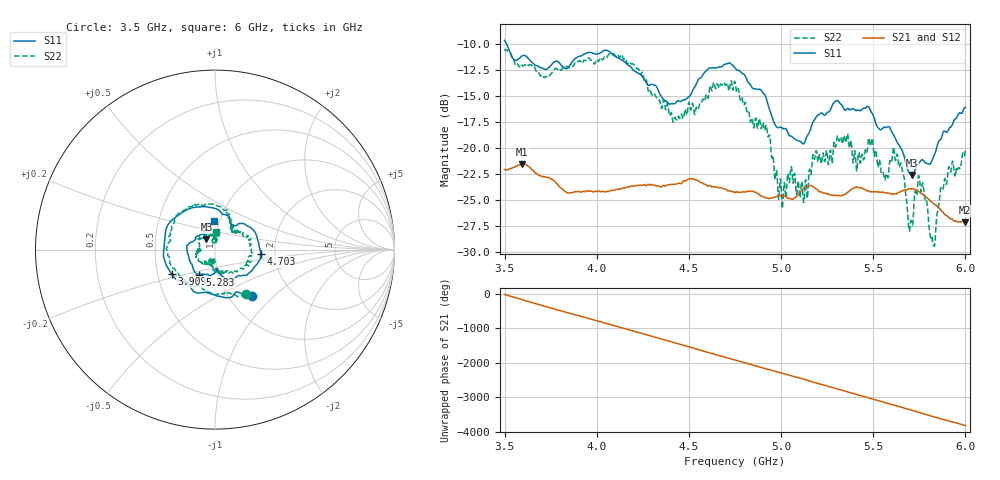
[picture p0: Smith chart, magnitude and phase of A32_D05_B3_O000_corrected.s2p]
! Created with skrf 1.9.0 (http://scikit-rf.org).
# Hz S RI R 50.0
!freq ReS11 ImS11 ReS21 ImS21 ReS12 ImS12 ReS22 ImS22
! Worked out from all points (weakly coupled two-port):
!   1601 points, 3.5 GHz to 6 GHz, reference 50 ohm
!   highest |S21| = -21.50 dB at 3.592 GHz (marker M1); lowest = -27.1 dB at 5.998 GHz (marker M2)
!   lowest |S11| = -22.5 dB at 5.711 GHz (marker M3), VSWR 1.16, Z = 45.2 + j5.22 ohm
!   |S11| at or under -10 dB: 3.511 GHz to end of sweep
!   |S22| runs from -29.4 to -10.4 dB; largest |S21 - S12| = 0.0009
!   S11 on the Smith chart (normalised r, x): 3.5 GHz: 1.28, -0.74; 3.909 GHz: 0.59, -0.17; 4.703 GHz: 1.68, -0.08; 5.283 GHz: 0.81, -0.23; 6 GHz: 0.94, +0.30
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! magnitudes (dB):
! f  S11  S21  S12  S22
! 3.5 GHz  -9.6  -22.0  -22.0  -10.4
! 3.592 GHz  -11.1  -21.5  -21.5  -11.9
! 3.909 GHz  -11.1  -24.2  -24.1  -11.6
! 3.917 GHz  -11.1  -24.2  -24.2  -11.8
! 4.142 GHz  -11.6  -23.8  -23.8  -11.3
! 4.334 GHz  -14.5  -23.6  -23.6  -15.4
! 4.423 GHz  -15.7  -23.4  -23.4  -17.0
! 4.703 GHz  -11.9  -24.0  -23.9  -13.9
! 4.75 GHz  -12.3  -24.2  -24.2  -13.6
! 4.928 GHz  -15.7  -24.8  -24.8  -18.9
! 4.997 GHz  -18.0  -24.6  -24.5  -22.9
! 5.167 GHz  -17.7  -23.6  -23.6  -21.6
! 5.283 GHz  -15.7  -24.5  -24.5  -20.2
! 5.486 GHz  -16.4  -24.2  -24.1  -19.8
! 5.584 GHz  -17.9  -24.3  -24.3  -22.1
! 5.641 GHz  -19.7  -24.2  -24.2  -21.8
! 5.711 GHz  -22.5  -23.9  -23.8  -27.4
! 5.756 GHz  -21.2  -24.3  -24.2  -23.9
! 5.825 GHz  -20.9  -25.3  -25.2  -29.2
! 5.877 GHz  -18.6  -26.1  -26.1  -24.0
! 5.998 GHz  -16.1  -27.1  -27.0  -20.4
! 6 GHz  -16.1  -27.1  -27.0  -20.2
